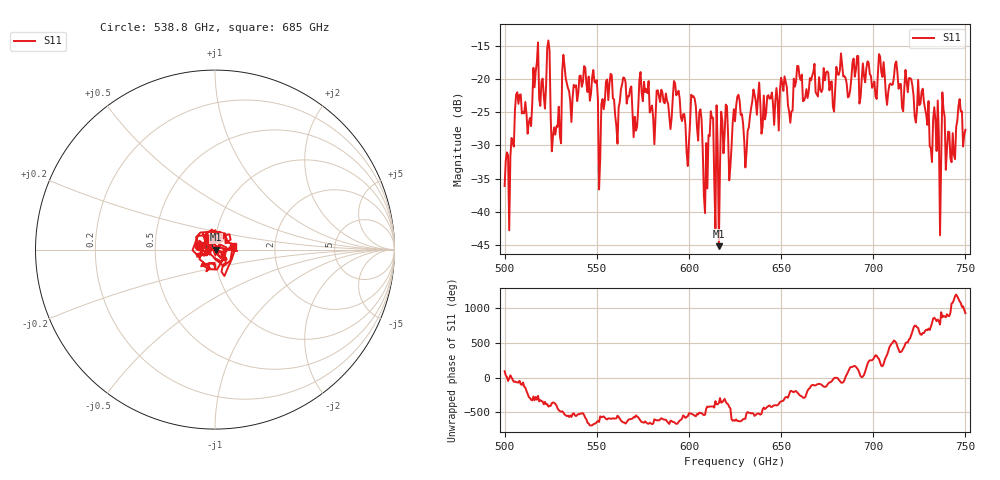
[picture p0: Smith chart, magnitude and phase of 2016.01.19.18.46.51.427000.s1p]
!Created with skrf (http://scikit-rf.org).
# GHz S RI R 50.0
!freq ReS11 ImS11
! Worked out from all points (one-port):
!   401 points, 500 GHz to 750 GHz, reference 50 ohm
!   lowest |S11| = -45.2 dB at 616.2 GHz (marker M1), VSWR 1.01, Z = 50.6 - j0.0462 ohm
!   |S11| at or under -10 dB: start of sweep to end of sweep
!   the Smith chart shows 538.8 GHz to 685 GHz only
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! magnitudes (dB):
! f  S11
! 500 GHz  -36.1
! 507.5 GHz  -23.7
! 513.8 GHz  -25.9
! 516.9 GHz  -18.8
! 523.8 GHz  -14.2
! 526.9 GHz  -27.3
! 531.2 GHz  -18.8
! 548.8 GHz  -20.4
! 552.5 GHz  -23.8
! 556.2 GHz  -23.2
! 562.5 GHz  -23.4
! 593.8 GHz  -22.2
! 599.4 GHz  -33.1
! 602.5 GHz  -22.6
! 608.8 GHz  -40.2
! 611.9 GHz  -24.9
! 615 GHz  -24.0
! 616.2 GHz  -45.2
! 625 GHz  -26.4
! 631.2 GHz  -31.1
! 635 GHz  -21.6
! 656.2 GHz  -24.8
! 687.5 GHz  -21.6
! 718.8 GHz  -22.0
! 735.6 GHz  -28.6
! 743.1 GHz  -28.2
! 746.9 GHz  -23.0
! 750 GHz  -27.7
